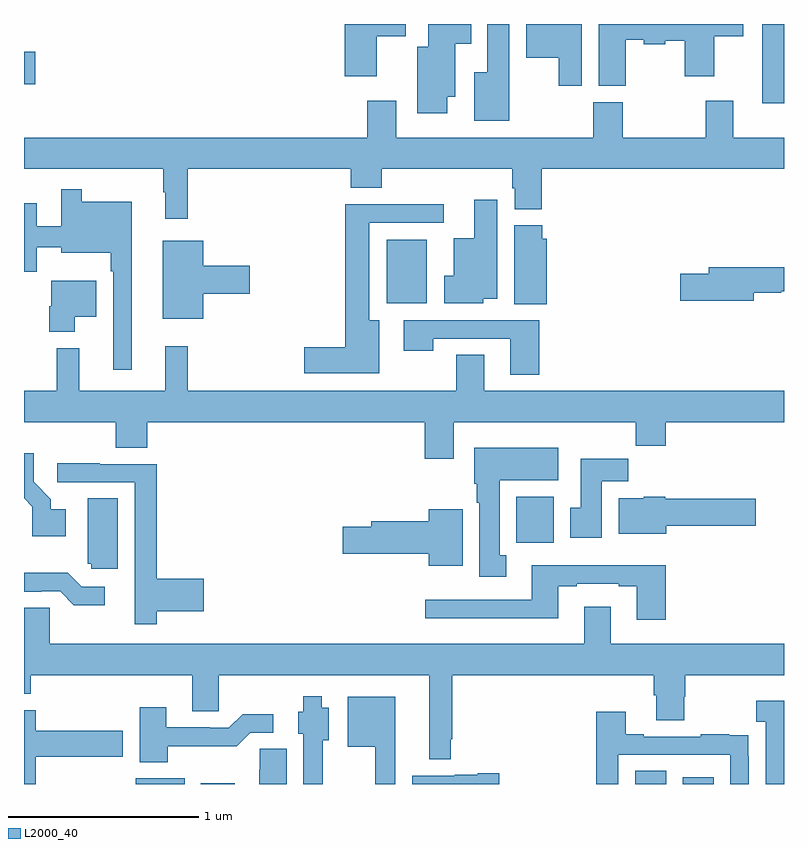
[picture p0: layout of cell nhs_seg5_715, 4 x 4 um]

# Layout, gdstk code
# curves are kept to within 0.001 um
import gdstk
lib = gdstk.Library(unit=1e-6, precision=1e-09)
def R(c, l, rs):  # rectangles x0, y0, x1, y1
    for r in rs: c.add(gdstk.rectangle(r[:2], r[2:], *l))
def P(c, l, *ps):  # polygons
    for p in ps: c.add(gdstk.Polygon(p, *l))
L2000_40 = (2000, 40)

nhs_seg5_715 = lib.new_cell('nhs_seg5_715')
R(nhs_seg5_715, L2000_40, [(155.588,910.799,155.846,910.828), (155.931,910.799,156.109,910.804), (158.216,910.799,158.38,910.868), (158.468,910.799,158.629,910.834), (157.592,912.068,157.789,912.31), (156.908,913.328,157.12,913.663), (158.885,914.382,159,914.799), (155,914.483,155.059,914.654)])
P(nhs_seg5_715, L2000_40, [(158.166,914.716),(158.262,914.716),(158.262,914.693),(158.376,914.693),(158.376,914.711),(158.477,914.711),(158.477,914.523),(158.632,914.523),(158.632,914.734),(158.785,914.734),(158.785,914.799),(158.024,914.799),(158.024,914.473),(158.166,914.473)],
  [(157.555,914.799),(157.439,914.799),(157.439,914.545),(157.37,914.545),(157.37,914.291),(157.555,914.291)],
  [(157.228,914.417),(157.27,914.417),(157.27,914.696),(157.354,914.696),(157.354,914.799),(157.127,914.799),(157.127,914.68),(157.07,914.68),(157.07,914.328),(157.228,914.328)],
  [(156.856,914.734),(157.009,914.734),(157.009,914.799),(156.689,914.799),(156.689,914.523),(156.856,914.523)],
  [(157.936,914.799),(157.643,914.799),(157.643,914.621),(157.814,914.621),(157.814,914.475),(157.936,914.475)],
  [(155.861,914.036),(156.719,914.036),(156.719,913.937),(156.884,913.937),(156.884,914.036),(157.571,914.036),(157.571,913.935),(157.583,913.935),(157.583,913.825),(157.724,913.825),(157.724,914.036),(159,914.036),(159,914.2),(158.734,914.2),(158.734,914.395),(158.587,914.395),(158.587,914.2),(158.151,914.2),(158.151,914.388),(157.996,914.388),(157.996,914.2),(156.958,914.2),(156.958,914.395),(156.806,914.395),(156.806,914.2),(155,914.2),(155,914.036),(155.733,914.036),(155.733,913.913),(155.744,913.913),(155.744,913.773),(155.861,913.773)],
  [(155.566,913.864),(155.305,913.864),(155.305,913.93),(155.196,913.93),(155.196,913.735),(155.068,913.735),(155.068,913.855),(155,913.855),(155,913.494),(155.068,913.494),(155.068,913.625),(155.195,913.625),(155.195,913.595),(155.457,913.595),(155.457,913.499),(155.469,913.499),(155.469,912.978),(155.566,912.978)],
  [(157.416,913.352),(157.492,913.352),(157.492,913.873),(157.37,913.873),(157.37,913.672),(157.262,913.672),(157.262,913.474),(157.211,913.474),(157.211,913.328),(157.416,913.328)],
  [(156.871,913.24),(156.817,913.24),(156.817,913.752),(157.21,913.752),(157.21,913.85),(156.692,913.85),(156.692,913.097),(156.474,913.097),(156.474,912.962),(156.871,912.962)],
  [(157.751,913.668),(157.727,913.668),(157.727,913.74),(157.58,913.74),(157.58,913.324),(157.751,913.324)],
  [(155.944,913.379),(156.187,913.379),(156.187,913.526),(155.944,913.526),(155.944,913.657),(155.729,913.657),(155.729,913.247),(155.944,913.247)],
  [(158.842,913.384),(158.985,913.384),(158.985,913.392),(159,913.392),(159,913.52),(158.603,913.52),(158.603,913.484),(158.454,913.484),(158.454,913.342),(158.842,913.342)],
  [(155.266,913.259),(155.38,913.259),(155.38,913.447),(155.144,913.447),(155.144,913.314),(155.132,913.314),(155.132,913.178),(155.266,913.178)],
  [(157.712,913.239),(156.999,913.239),(156.999,913.08),(157.155,913.08),(157.155,913.143),(157.559,913.143),(157.559,912.954),(157.712,912.954)],
  [(157.261,912.704),(158.221,912.704),(158.221,912.58),(158.378,912.58),(158.378,912.704),(159,912.704),(159,912.868),(157.423,912.868),(157.423,913.058),(157.276,913.058),(157.276,912.868),(155.861,912.868),(155.861,913.102),(155.744,913.102),(155.744,912.868),(155.291,912.868),(155.291,913.093),(155.173,913.093),(155.173,912.868),(155,912.868),(155,912.704),(155.483,912.704),(155.483,912.568),(155.648,912.568),(155.648,912.704),(157.109,912.704),(157.109,912.51),(157.261,912.51)],
  [(157.537,912.002),(157.504,912.002),(157.504,912.398),(157.813,912.398),(157.813,912.568),(157.37,912.568),(157.37,912.378),(157.382,912.378),(157.382,912.278),(157.397,912.278),(157.397,911.889),(157.537,911.889)],
  [(155.221,912.244),(155.14,912.244),(155.14,912.299),(155.05,912.389),(155.05,912.541),(155,912.541),(155,912.302),(155.043,912.259),(155.043,912.104),(155.221,912.104)],
  [(158.041,912.392),(158.18,912.392),(158.18,912.51),(157.931,912.51),(157.931,912.252),(157.874,912.252),(157.874,912.096),(158.041,912.096)],
  [(155.699,911.708),(155.947,911.708),(155.947,911.879),(155.699,911.879),(155.699,912.483),(155.399,912.483),(155.399,912.486),(155.175,912.486),(155.175,912.387),(155.583,912.387),(155.583,911.862),(155.582,911.862),(155.582,911.64),(155.699,911.64)],
  [(158.38,912.158),(158.851,912.158),(158.851,912.3),(158.376,912.3),(158.376,912.31),(158.262,912.31),(158.262,912.304),(158.129,912.304),(158.129,912.116),(158.38,912.116)],
  [(155.494,912.302),(155.336,912.302),(155.336,911.958),(155.355,911.958),(155.355,911.931),(155.494,911.931)],
  [(157.309,912.244),(157.13,912.244),(157.13,912.182),(156.827,912.182),(156.827,912.152),(156.678,912.152),(156.678,912.01),(157.13,912.01),(157.13,911.948),(157.309,911.948)],
  [(158.378,911.95),(157.673,911.95),(157.673,911.769),(157.113,911.769),(157.113,911.672),(157.813,911.672),(157.813,911.841),(157.909,911.841),(157.909,911.853),(158.129,911.853),(158.129,911.841),(158.225,911.841),(158.225,911.664),(158.378,911.664)],
  [(155.425,911.838),(155.304,911.838),(155.231,911.911),(155,911.911),(155,911.811),(155.09,911.811),(155.09,911.814),(155.19,911.814),(155.263,911.741),(155.425,911.741)],
  [(157.247,911.035),(157.255,911.035),(157.255,911.372),(158.315,911.372),(158.315,911.266),(158.327,911.266),(158.327,911.134),(158.475,911.134),(158.475,911.259),(158.48,911.259),(158.48,911.372),(159,911.372),(159,911.536),(158.089,911.536),(158.089,911.731),(157.949,911.731),(157.949,911.536),(155.136,911.536),(155.136,911.726),(155,911.726),(155,911.273),(155.036,911.273),(155.036,911.372),(155.885,911.372),(155.885,911.182),(156.024,911.182),(156.024,911.372),(157.133,911.372),(157.133,910.928),(157.247,910.928)],
  [(156.572,911.03),(156.604,911.03),(156.604,911.2),(156.568,911.2),(156.568,911.26),(156.47,911.26),(156.47,911.178),(156.443,911.178),(156.443,911.064),(156.471,911.064),(156.471,910.799),(156.572,910.799)],
  [(156.955,911.257),(156.704,911.257),(156.704,910.994),(156.849,910.994),(156.849,910.799),(156.955,910.799)],
  [(159,911.236),(158.853,911.236),(158.853,911.126),(158.904,911.126),(158.904,910.799),(159,910.799)],
  [(155.757,910.998),(156.119,910.997),(156.192,911.07),(156.313,911.07),(156.313,911.167),(156.151,911.167),(156.078,911.094),(155.978,911.094),(155.978,911.097),(155.749,911.097),(155.749,911.203),(155.609,911.203),(155.609,910.913),(155.757,910.913)],
  [(155.063,910.942),(155.521,910.942),(155.521,911.079),(155.063,911.079),(155.063,911.186),(155,911.186),(155,910.799),(155.063,910.799)],
  [(158.127,910.953),(158.718,910.953),(158.718,910.799),(158.814,910.799),(158.814,910.946),(158.813,910.946),(158.813,911.055),(158.711,911.055),(158.711,911.062),(158.563,911.062),(158.563,911.049),(158.263,911.049),(158.263,911.062),(158.167,911.062),(158.167,911.179),(158.011,911.179),(158.011,910.799),(158.127,910.799)],
  [(156.382,910.985),(156.24,910.985),(156.24,910.874),(156.239,910.874),(156.239,910.799),(156.382,910.799)],
  [(157.501,910.856),(157.388,910.856),(157.388,910.849),(157.266,910.849),(157.266,910.843),(157.043,910.843),(157.043,910.799),(157.501,910.799)])

lib.write_gds('nhs_seg5_715.gds')
